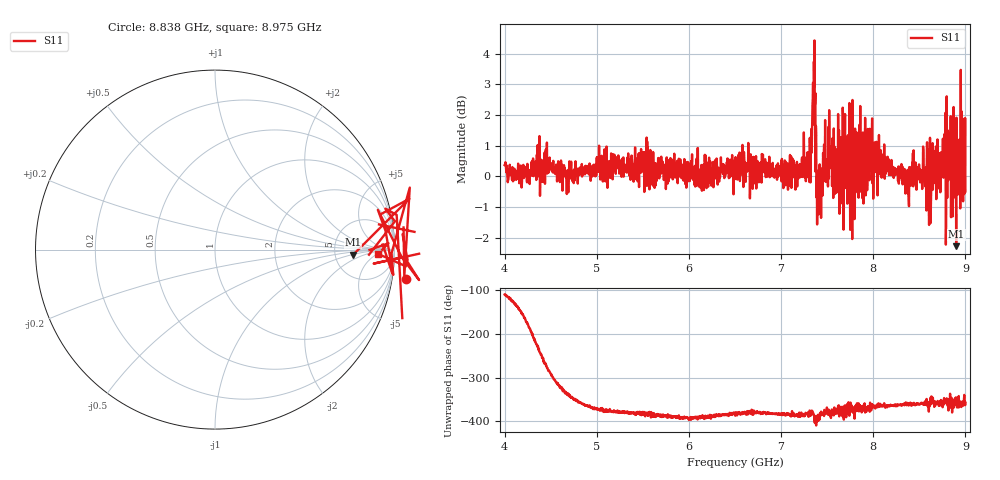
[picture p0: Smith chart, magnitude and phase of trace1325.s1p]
! Created with skrf 1.8.0 (http://scikit-rf.org).
# Hz S RI R 50.0
!freq ReS11 ImS11
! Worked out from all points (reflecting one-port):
!   1601 points, 4 GHz to 9 GHz, reference 50 ohm
!   lowest |S11| = -2.3 dB at 8.9 GHz (marker M1), VSWR 7.69, Z = 377 - j53.5 ohm
!   phase of S11 starts at -110 deg and turns -248 deg over the sweep
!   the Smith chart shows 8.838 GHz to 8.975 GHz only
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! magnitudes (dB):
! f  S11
! 4 GHz  0.4
! 4.106 GHz  0.3
! 4.472 GHz  0.3
! 4.625 GHz  -0.2
! 5.25 GHz  0.4
! 5.875 GHz  0.0
! 6.5 GHz  0.2
! 7.125 GHz  0.6
! 7.294 GHz  0.0
! 7.356 GHz  3.7
! 7.409 GHz  -1.2
! 7.462 GHz  0.4
! 7.538 GHz  0.3
! 7.591 GHz  0.3
! 7.688 GHz  1.6
! 7.75 GHz  -1.7
! 7.788 GHz  0.3
! 7.834 GHz  1.2
! 7.909 GHz  1.1
! 7.962 GHz  1.6
! 8.022 GHz  0.3
! 8.375 GHz  -0.1
! 8.566 GHz  -0.2
! 8.622 GHz  -1.5
! 8.819 GHz  1.4
! 8.9 GHz  -2.3
! 8.972 GHz  0.6
! 9 GHz  -0.5
